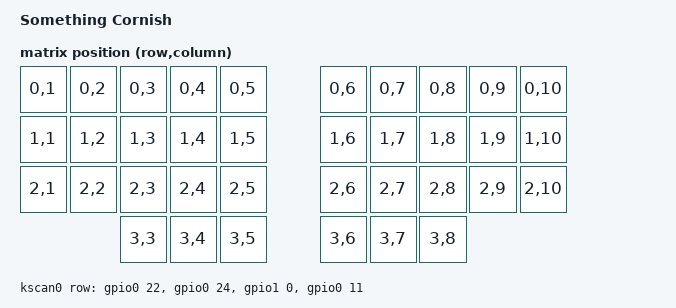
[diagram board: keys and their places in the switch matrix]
#include <physical_layouts.dtsi>
#include <dt-bindings/zmk/matrix_transform.h>
#include <layouts/foostan/corne/5column.dtsi>

&foostan_corne_5col_layout {
    transform = <&default_transform>;
    kscan = <&kscan0>;
};
&pro_micro_i2c {
    status = "disabled";
};
&pinctrl {
    spi0_default: spi0_default {
        group1 {
            psels = <NRF_PSEL(SPIM_SCK, 0, 20)>,
                <NRF_PSEL(SPIM_MOSI, 0, 17)>,
                <NRF_PSEL(SPIM_MISO, 0, 5)>;
        };
    };

    spi0_sleep: spi0_sleep {
        group1 {
            psels = <NRF_PSEL(SPIM_SCK, 0, 20)>,
                <NRF_PSEL(SPIM_MOSI, 0, 17)>,
                <NRF_PSEL(SPIM_MISO, 0, 5)>;
            low-power-enable;
        };
    };
};

&spi0 {
    status = "okay";
    pinctrl-0 = <&spi0_default>;
    pinctrl-1 = <&spi0_sleep>;
    pinctrl-names = "default", "sleep";
    cs-gpios = <&pro_micro 16 GPIO_ACTIVE_LOW>;

    epd: il0323@0 {
        compatible = "gooddisplay,il0323";
        reg =  <0>;
        width = <80>;
        height = <128>;
        spi-max-frequency = <4000000>;
        dc-gpios = <&pro_micro 10 GPIO_ACTIVE_LOW>;
        busy-gpios = <&pro_micro 9 GPIO_ACTIVE_LOW>;
        reset-gpios = <&pro_micro 8 GPIO_ACTIVE_LOW>;
        pwr = [03 00 26 26];
        cdi = <0xd2>;
        tcon = <0x22>;
    };
};
/ {
    model = "Something Cornish";

    chosen {
        zmk,kscan = &kscan0;
        zmk,physical-layout = &foostan_corne_5col_layout;
        zephyr,display = &epd;
        zmk,underglow = &led_strip;
    };

    default_transform: keymap_transform_0 {
        compatible = "zmk,matrix-transform";
         columns = <10>;
         rows = <4>;
// | SW2  | SW3  | SW4  | SW5  | SW6  |   | SW6  | SW5  | SW4  | SW3  | SW2  |
// | SW8  | SW9  | SW10 | SW11 | SW12 |   | SW12 | SW11 | SW10 | SW9  | SW8  |
// | SW14 | SW15 | SW16 | SW17 | SW18 |   | SW18 | SW17 | SW16 | SW15 | SW14 |
//               | SW19 | SW20 | SW21 |   | SW21 | SW20 | SW19 |
        map = <
RC(0,1) RC(0,2) RC(0,3) RC(0,4) RC(0,5)  RC(0,6) RC(0,7) RC(0,8) RC(0,9) RC(0,10)
RC(1,1) RC(1,2) RC(1,3) RC(1,4) RC(1,5)  RC(1,6) RC(1,7) RC(1,8) RC(1,9) RC(1,10)
RC(2,1) RC(2,2) RC(2,3) RC(2,4) RC(2,5)  RC(2,6) RC(2,7) RC(2,8) RC(2,9) RC(2,10)
                        RC(3,3) RC(3,4) RC(3,5)  RC(3,6) RC(3,7) RC(3,8)
        >;
    };

    kscan0: kscan {
        compatible = "zmk,kscan-gpio-matrix";
        diode-direction = "col2row";
        wakeup-source;

        row-gpios
            = <&gpio0 22 (GPIO_ACTIVE_HIGH | GPIO_PULL_DOWN)>
            , <&gpio0 24 (GPIO_ACTIVE_HIGH | GPIO_PULL_DOWN)>
            , <&gpio1 0 (GPIO_ACTIVE_HIGH | GPIO_PULL_DOWN)>
            , <&gpio0 11 (GPIO_ACTIVE_HIGH | GPIO_PULL_DOWN)>
            ;
    };
};

